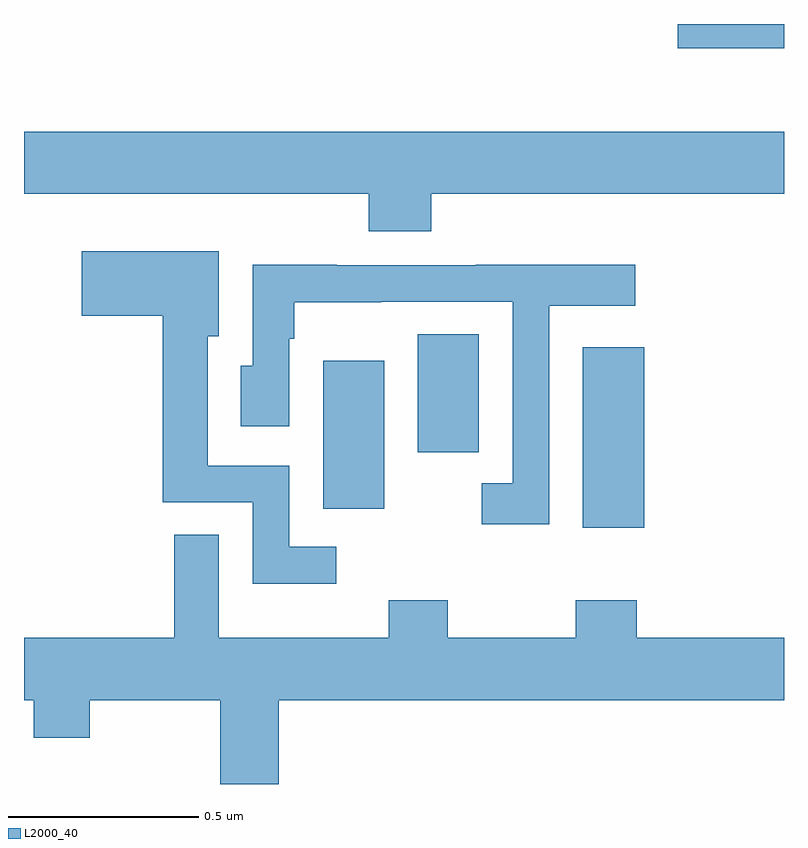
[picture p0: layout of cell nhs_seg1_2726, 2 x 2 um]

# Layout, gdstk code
import gdstk
lib = gdstk.Library(unit=1e-6, precision=1e-09)
def R(c, l, rs):  # rectangles x0, y0, x1, y1
    for r in rs: c.add(gdstk.rectangle(r[:2], r[2:], *l))
def P(c, l, *ps):  # polygons
    for p in ps: c.add(gdstk.Polygon(p, *l))
L2000_40 = (2000, 40)

nhs_seg1_2726 = lib.new_cell('nhs_seg1_2726')
R(nhs_seg1_2726, L2000_40, [(146.471,530.874,146.632,531.349), (145.787,530.924,145.948,531.313), (146.036,531.072,146.197,531.383), (146.721,532.135,147,532.199)])
P(nhs_seg1_2726, L2000_40, [(146.072,531.752),(147,531.752),(147,531.916),(145,531.916),(145,531.752),(145.907,531.752),(145.907,531.653),(146.072,531.653)],
  [(145.822,530.823),(145.698,530.823),(145.698,531.036),(145.483,531.036),(145.483,531.377),(145.513,531.377),(145.513,531.601),(145.152,531.601),(145.152,531.431),(145.365,531.431),(145.365,530.94),(145.602,530.94),(145.602,530.726),(145.822,530.726)],
  [(146.382,531.458),(146.608,531.458),(146.608,531.566),(146.189,531.566),(146.189,531.564),(145.823,531.564),(145.823,531.566),(145.602,531.566),(145.602,531.3),(145.571,531.3),(145.571,531.141),(145.698,531.141),(145.698,531.371),(145.711,531.371),(145.711,531.467),(145.94,531.467),(145.94,531.468),(146.286,531.468),(146.286,530.991),(146.205,530.991),(146.205,530.883),(146.382,530.883)],
  [(145.67,530.42),(147,530.42),(147,530.584),(146.612,530.584),(146.612,530.683),(146.452,530.683),(146.452,530.584),(146.115,530.584),(146.115,530.683),(145.96,530.683),(145.96,530.584),(145.513,530.584),(145.513,530.855),(145.395,530.855),(145.395,530.584),(145,530.584),(145,530.42),(145.025,530.42),(145.025,530.321),(145.173,530.321),(145.173,530.42),(145.517,530.42),(145.517,530.199),(145.67,530.199)])

lib.write_gds('nhs_seg1_2726.gds')
